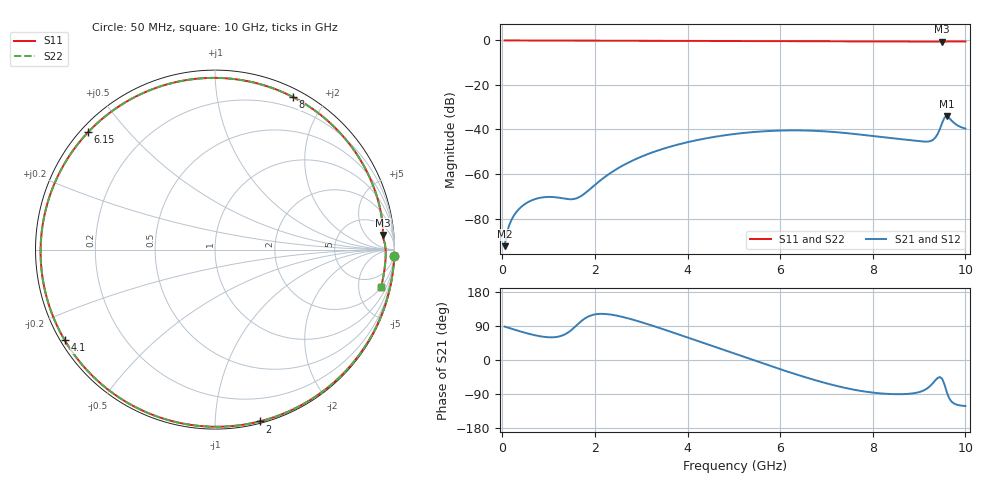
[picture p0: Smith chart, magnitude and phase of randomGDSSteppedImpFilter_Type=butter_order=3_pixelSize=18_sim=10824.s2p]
! freq	dB(S11)	phase(S11)	dB(S12)	phase(S12)
!  dB(S21)	phase(S21)	dB(S22)	phase(S22)
!S-par simulation data
#  GHz  S  DB  R 50
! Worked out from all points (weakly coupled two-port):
!   200 points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, 50 MHz to 10 GHz, reference 50 ohm
!   highest |S21| = -34.02 dB at 9.6 GHz (marker M1); lowest = -92.4 dB at 50 MHz (marker M2)
!   lowest |S11| = -0.5 dB at 9.5 GHz (marker M3), VSWR 31.91, Z = 552 + j758 ohm
!   |S11| at or under -10 dB: nowhere
!   |S22| runs from -0.5 to 0.0 dB; largest |S21 - S12| = 0
!   S11 on the Smith chart (normalised r, x): 50 MHz: 0, -58; 2 GHz: 0.01, -1.29; 4.1 GHz: 0.01, -0.28; 6.15 GHz: 0.02, +0.39; 8 GHz: 0.09, +1.63; 10 GHz: 2.07, -8.54
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0.05  -0.00 -2.0  -92.43 88.2  -92.43 88.2  -0.00 -2.0
0.2  -0.01 -7.8  -80.54 82.4  -80.54 82.4  -0.01 -7.8
0.45  -0.02 -17.4  -74.09 73.3  -74.09 73.3  -0.02 -17.4
0.7  -0.03 -27.0  -71.33 65.5  -71.33 65.5  -0.03 -27.0
1.5  -0.07 -57.2  -71.35 79.9  -71.35 79.9  -0.07 -57.1
1.75  -0.08 -66.4  -69.22 106.8  -69.22 106.8  -0.08 -66.3
2  -0.10 -75.5  -64.89 120.3  -64.89 120.3  -0.10 -75.4
2.6  -0.12 -96.9  -56.23 113.6  -56.23 113.6  -0.12 -96.8
3.4  -0.16 -124.7  -49.16 84.2  -49.16 84.2  -0.16 -124.7
4.1  -0.19 -148.9  -45.24 55.3  -45.24 55.3  -0.19 -148.8
5.05  -0.25 177.8  -41.93 15.2  -41.93 15.2  -0.25 177.9
5.6  -0.29 157.9  -40.88 -7.9  -40.88 -7.9  -0.29 157.9
6.15  -0.32 137.1  -40.42 -30.3  -40.42 -30.3  -0.32 137.2
6.7  -0.36 115.7  -40.56 -51.2  -40.56 -51.2  -0.36 115.7
7.35  -0.38 89.5  -41.47 -72.2  -41.47 -72.2  -0.38 89.5
8  -0.40 62.9  -42.95 -86.0  -42.95 -86.0  -0.40 62.9
8.35  -0.41 48.7  -43.78 -89.6  -43.78 -89.6  -0.41 48.8
9.25  -0.47 13.7  -45.18 -67.2  -45.18 -67.2  -0.47 13.8
9.4  -0.50 8.2  -42.08 -47.4  -42.08 -47.4  -0.50 8.3
9.5  -0.54 4.9  -36.97 -49.8  -36.97 -49.8  -0.54 5.0
9.6  -0.47 1.8  -34.02 -85.5  -34.02 -85.5  -0.47 1.9
10  -0.46 -12.6  -39.60 -121.6  -39.60 -121.6  -0.46 -12.6
